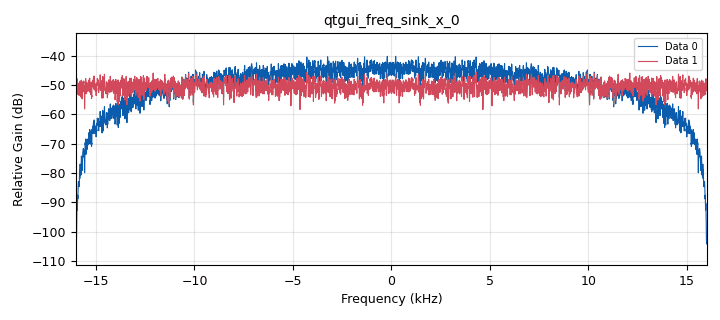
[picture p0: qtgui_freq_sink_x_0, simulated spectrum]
options:
  parameters:
    category: Custom
    generate_options: qt_gui
    id: Embedded_Python_Example_Moving_Average
    output_language: python
  states: {}

blocks:
- name: samp_rate
  id: variable
  parameters:
    value: 32E3
  states: {}
- name: analog_noise_source_x_0
  id: analog_noise_source_x
  parameters:
    amp: '1'
    noise_type: analog.GR_GAUSSIAN
    seed: '0'
    type: float
  states: {}
- name: blocks_throttle_0
  id: blocks_throttle
  parameters:
    samples_per_second: samp_rate
    type: float
  states: {}
- name: epy_block_0_0
  id: epy_block
  parameters:
    _source_code: "\n\"\"\"\nEmbedded Python Blocks:\n\nEach time this file is saved, GRC will instantiate the first class it finds\nto get ports and parameters of your block. The arguments to __init__  will\nbe the parameters. All of them are required to have default values!\n\"\"\"\n\nimport numpy as np\nfrom gnuradio import gr\n\n\nclass blk(gr.sync_block):  # other base classes are basic_block, decim_block, interp_block\n    \"\"\"Embedded Python Block example - a simple multiply const\"\"\"\n\n    def __init__(self, example_param=1):  # only default arguments here\n        \"\"\"arguments to this function show up as parameters in GRC\"\"\"\n        gr.sync_block.__init__(\n            self,\n            name='Embedded Python Block',   # will show up in GRC\n            in_sig=[np.float32],\n            out_sig=[np.float32]\n        )\n        # if an attribute with the same name as a parameter is found,\n        # a callback is registered (properties work, too).\n        self.example_param = example_param\n        self.set_history(2)  #Example: The comand set_history(4) appends the first 4-1=3 previous items to the input buffer (input_items), while the 4'th item is the current value. Therefore,\n            #input_items[0][3] is the beginning of the current input stream.\n            #input_items[0][2] is one input older than the current input stream.\n            #input_items[0][1] is one input older than input_items[0][2]\n            #input_items[0][0] is one input older than input_items[0][1]\n            \n    def work(self, input_items, output_items):\n        for i in range(0, len(output_items[0])):\n            output_items[0][i]=input_items[0][i+1]/2+input_items[0][i]/2\n        \n        # print \"length of input_items = \", len(input_items[0])\n        # print \"length of output_items = \", len(output_items[0])\n        # print \"len(input_items[0])-len(output_items[0]) = \", len(input_items[0])-len(output_items[0])\n        return len(output_items[0])"
    example_param: '1'
  states: {}
- name: fir_filter_xxx_0
  id: fir_filter_xxx
  parameters:
    decim: '1'
    taps: '.5'
    type: fff
  states: {}
- name: qtgui_freq_sink_x_0
  id: qtgui_freq_sink_x
  parameters:
    autoscale: 'True'
    average: '0.2'
    bw: samp_rate
    fc: '0'
    fftsize: 1024*4
    grid: 'True'
    label2: ''
    nconnections: '2'
    showports: 'True'
    type: float
    wintype: firdes.WIN_BLACKMAN_hARRIS
  states: {}

connections:
- [analog_noise_source_x_0, '0', blocks_throttle_0, '0']
- [blocks_throttle_0, '0', epy_block_0_0, '0']
- [blocks_throttle_0, '0', fir_filter_xxx_0, '0']
- [epy_block_0_0, '0', qtgui_freq_sink_x_0, '0']
- [fir_filter_xxx_0, '0', qtgui_freq_sink_x_0, '1']

metadata:
  file_format: 1
